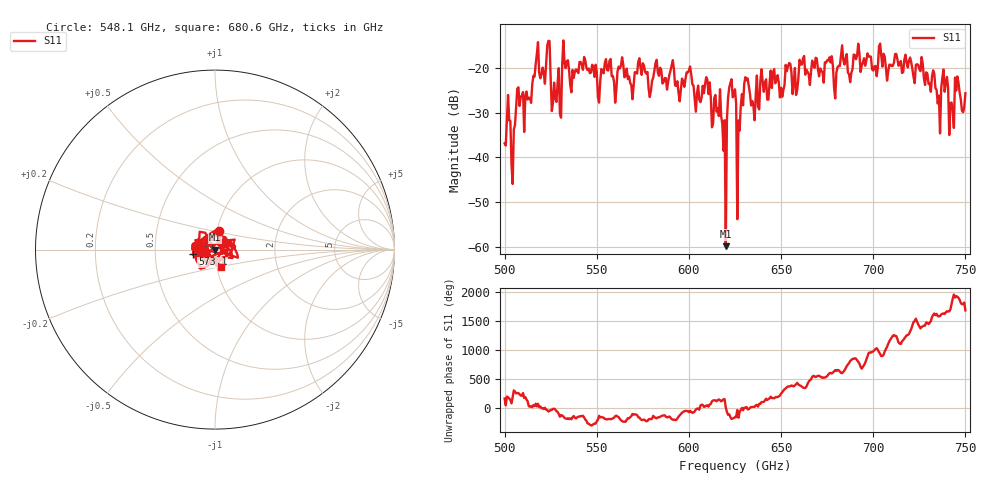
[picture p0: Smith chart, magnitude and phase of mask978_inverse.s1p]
!Created with skrf (http://scikit-rf.org).
# GHz S MA R 50.0
!freq magS11 angS11
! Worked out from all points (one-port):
!   401 points, 500 GHz to 750 GHz, reference 50 ohm
!   lowest |S11| = -59.8 dB at 620 GHz (marker M1), VSWR 1.00, Z = 50.1 + j0.0062 ohm
!   |S11| at or under -10 dB: start of sweep to end of sweep
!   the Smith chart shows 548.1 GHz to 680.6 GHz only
!   S11 on the Smith chart (normalised r, x): 548.1 GHz: 1.02, +0.21; 573.1 GHz: 0.78, -0.04; 680.6 GHz: 1.05, -0.20
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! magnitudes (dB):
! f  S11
! 500 GHz  -36.9
! 505 GHz  -33.8
! 507.5 GHz  -24.4
! 511.9 GHz  -25.3
! 516.9 GHz  -19.2
! 523.8 GHz  -14.0
! 526.9 GHz  -23.3
! 531.2 GHz  -19.3
! 548.1 GHz  -19.7
! 562.5 GHz  -20.2
! 573.1 GHz  -17.9
! 593.8 GHz  -23.0
! 610 GHz  -22.7
! 620 GHz  -59.8
! 622.5 GHz  -23.4
! 625 GHz  -24.8
! 627.5 GHz  -34.0
! 631.2 GHz  -22.8
! 635 GHz  -28.5
! 656.2 GHz  -25.9
! 680.6 GHz  -19.9
! 687.5 GHz  -23.2
! 718.8 GHz  -19.9
! 735 GHz  -28.0
! 738.8 GHz  -25.4
! 742.5 GHz  -27.8
! 745.6 GHz  -22.0
! 750 GHz  -25.7
